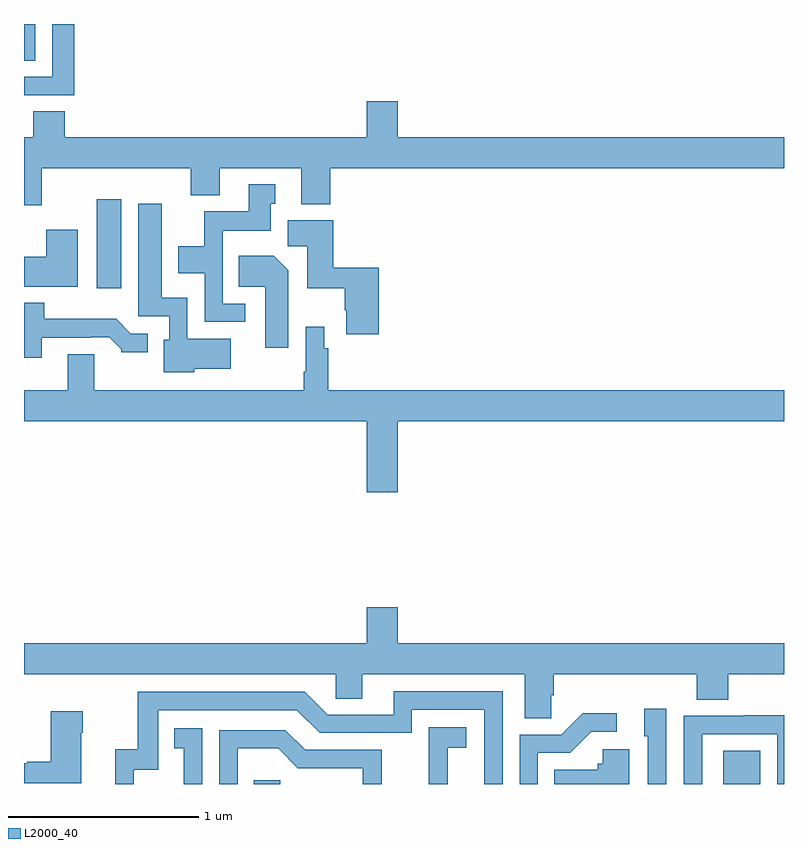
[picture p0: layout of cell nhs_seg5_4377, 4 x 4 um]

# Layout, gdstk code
import gdstk
lib = gdstk.Library(unit=1e-6, precision=1e-09)
def R(c, l, rs):  # rectangles x0, y0, x1, y1
    for r in rs: c.add(gdstk.rectangle(r[:2], r[2:], *l))
def P(c, l, *ps):  # polygons
    for p in ps: c.add(gdstk.Polygon(p, *l))
L2000_40 = (2000, 40)

nhs_seg5_4377 = lib.new_cell('nhs_seg5_4377')
R(nhs_seg5_4377, L2000_40, [(368.209,906.799,368.349,906.819), (370.679,906.799,370.876,906.973), (367.382,909.408,367.513,909.877), (367,910.606,367.06,910.799)])
P(nhs_seg5_4377, L2000_40, [(367.265,910.799),(367.149,910.799),(367.149,910.521),(367,910.521),(367,910.425),(367.265,910.425)],
  [(367.093,910.04),(367.877,910.04),(367.877,909.899),(368.029,909.899),(368.029,910.04),(368.459,910.04),(368.459,909.851),(368.612,909.851),(368.612,910.04),(371,910.04),(371,910.204),(368.968,910.204),(368.968,910.393),(368.804,910.393),(368.804,910.204),(367.214,910.204),(367.214,910.34),(367.049,910.34),(367.049,910.204),(367,910.204),(367,909.846),(367.093,909.846)],
  [(368.164,909.327),(368.046,909.327),(368.046,909.71),(368.299,909.71),(368.299,909.852),(368.323,909.852),(368.323,909.955),(368.183,909.955),(368.183,909.814),(367.948,909.814),(367.948,909.628),(367.811,909.628),(367.811,909.488),(367.95,909.488),(367.95,909.231),(368.164,909.231)],
  [(367.896,908.984),(368.089,908.984),(368.089,909.142),(367.86,909.142),(367.86,909.358),(367.726,909.358),(367.726,909.853),(367.601,909.853),(367.601,909.261),(367.764,909.261),(367.764,909.138),(367.736,909.138),(367.736,908.966),(367.896,908.966)],
  [(368.867,909.517),(368.627,909.517),(368.627,909.766),(368.387,909.766),(368.387,909.628),(368.492,909.628),(368.492,909.407),(368.689,909.407),(368.689,909.292),(368.696,909.292),(368.696,909.165),(368.867,909.165)],
  [(367.282,909.715),(367.118,909.715),(367.118,909.574),(367,909.574),(367,909.416),(367.282,909.416)],
  [(368.392,909.502),(368.314,909.58),(368.131,909.58),(368.131,909.416),(368.27,909.416),(368.27,909.096),(368.392,909.096)],
  [(367.093,909.147),(367.349,909.147),(367.349,909.15),(367.448,909.15),(367.512,909.086),(367.512,909.071),(367.651,909.071),(367.651,909.168),(367.563,909.168),(367.485,909.247),(367.106,909.247),(367.106,909.331),(367,909.331),(367,909.042),(367.093,909.042)],
  [(368.968,908.708),(371,908.708),(371,908.872),(368.6,908.872),(368.6,909.092),(368.58,909.092),(368.58,909.205),(368.484,909.205),(368.484,908.968),(368.472,908.968),(368.472,908.872),(367.369,908.872),(367.369,909.062),(367.229,909.062),(367.229,908.872),(367,908.872),(367,908.708),(368.804,908.708),(368.804,908.334),(368.968,908.334)],
  [(369.774,907.267),(369.788,907.267),(369.788,907.376),(370.541,907.376),(370.541,907.243),(370.706,907.243),(370.706,907.376),(371,907.376),(371,907.54),(368.968,907.54),(368.968,907.729),(368.804,907.729),(368.804,907.54),(367,907.54),(367,907.376),(368.64,907.376),(368.64,907.249),(368.779,907.249),(368.779,907.376),(369.635,907.376),(369.635,907.144),(369.774,907.144)],
  [(367.578,906.873),(367.707,906.873),(367.707,907.188),(368.436,907.188),(368.556,907.068),(369.042,907.068),(369.042,907.191),(369.423,907.191),(369.423,906.799),(369.519,906.799),(369.519,907.287),(368.945,907.287),(368.945,907.164),(368.598,907.164),(368.478,907.284),(367.599,907.284),(367.599,906.982),(367.481,906.982),(367.481,906.799),(367.578,906.799)],
  [(370.38,907.195),(370.265,907.195),(370.265,907.05),(370.284,907.05),(370.284,906.799),(370.38,906.799)],
  [(367.3,907.07),(367.308,907.07),(367.308,907.183),(367.142,907.183),(367.142,906.917),(367.016,906.917),(367.016,906.907),(367,906.907),(367,906.803),(367.3,906.803)],
  [(369.705,906.963),(369.874,906.963),(369.985,907.074),(370.12,907.074),(370.12,907.172),(369.941,907.172),(369.828,907.059),(369.609,907.059),(369.609,906.799),(369.705,906.799)],
  [(370.569,907.062),(370.965,907.062),(370.965,906.799),(371,906.799),(371,907.16),(370.789,907.16),(370.789,907.158),(370.473,907.158),(370.473,906.799),(370.569,906.799)],
  [(369.23,906.989),(369.328,906.989),(369.328,907.099),(369.13,907.099),(369.13,906.893),(369.131,906.893),(369.131,906.799),(369.23,906.799)],
  [(367.938,907.093),(367.792,907.093),(367.792,906.987),(367.841,906.987),(367.841,906.799),(367.938,906.799)],
  [(368.124,906.986),(368.338,906.986),(368.442,906.882),(368.784,906.882),(368.784,906.799),(368.883,906.799),(368.883,906.978),(368.479,906.978),(368.374,907.083),(368.028,907.083),(368.028,906.799),(368.124,906.799)],
  [(370.186,906.982),(370.047,906.982),(370.047,906.906),(370.021,906.906),(370.021,906.874),(369.79,906.874),(369.79,906.799),(370.186,906.799)])

lib.write_gds('nhs_seg5_4377.gds')
